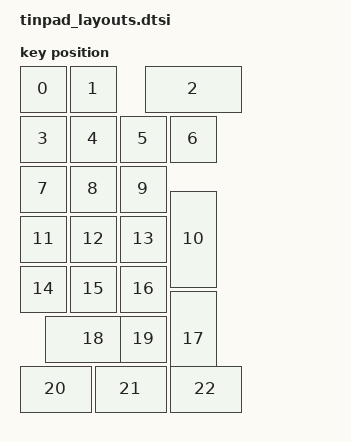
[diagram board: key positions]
#include <physical_layouts.dtsi>


/ {
    physical_layout0: physical_layout_0 {
        compatible = "zmk,physical-layout";
        display-name = "Default Layout";
        transform = <&default_transform>;

        keys  //                     w   h    x    y     rot    rx    ry
            = <&key_physical_attrs 100 100    0    0       0     0     0>
            , <&key_physical_attrs 100 100  100    0       0     0     0>
            , <&key_physical_attrs 200 100  250    0       0     0     0>
            , <&key_physical_attrs 100 100    0  100       0     0     0>
            , <&key_physical_attrs 100 100  100  100       0     0     0>
            , <&key_physical_attrs 100 100  200  100       0     0     0>
            , <&key_physical_attrs 100 100  300  100       0     0     0>
            , <&key_physical_attrs 100 100    0  200       0     0     0>
            , <&key_physical_attrs 100 100  100  200       0     0     0>
            , <&key_physical_attrs 100 100  200  200       0     0     0>
            , <&key_physical_attrs 100 200  300  250       0     0     0>
            , <&key_physical_attrs 100 100    0  300       0     0     0>
            , <&key_physical_attrs 100 100  100  300       0     0     0>
            , <&key_physical_attrs 100 100  200  300       0     0     0>
            , <&key_physical_attrs 100 100    0  400       0     0     0>
            , <&key_physical_attrs 100 100  100  400       0     0     0>
            , <&key_physical_attrs 100 100  200  400       0     0     0>
            , <&key_physical_attrs 100 200  300  450       0     0     0>
            , <&key_physical_attrs 200 100  50   500       0     0     0>
            , <&key_physical_attrs 100 100  200  500       0     0     0>
            , <&key_physical_attrs 150 100    0  600       0     0     0>
            , <&key_physical_attrs 150 100  150  600       0     0     0>
            , <&key_physical_attrs 150 100  300  600       0     0     0>
            ;

    };
};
